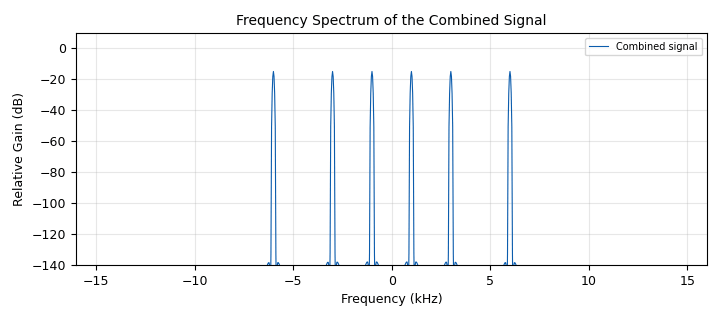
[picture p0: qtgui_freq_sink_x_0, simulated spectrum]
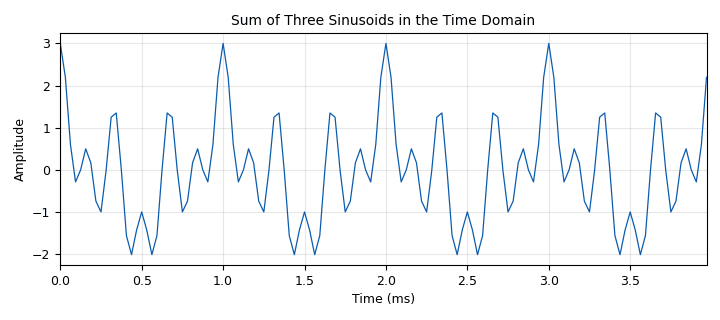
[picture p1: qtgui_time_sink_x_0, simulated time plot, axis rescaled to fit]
options:
  parameters:
    author: Dhrubjun
    generate_options: qt_gui
    id: exp1
    output_language: python
    title: Time & Frequency Domain
  states: {}

blocks:
- name: samp_rate
  id: variable
  parameters:
    value: '32000'
  states: {}
- name: analog_sig_source_x_0
  id: analog_sig_source_x
  parameters:
    amp: '1'
    freq: '1000'
    offset: '0'
    phase: '0'
    samp_rate: samp_rate
    type: float
    waveform: analog.GR_COS_WAVE
  states: {}
- name: analog_sig_source_x_0_0
  id: analog_sig_source_x
  parameters:
    amp: '1'
    freq: '3000'
    offset: '0'
    phase: '0'
    samp_rate: samp_rate
    type: float
    waveform: analog.GR_COS_WAVE
  states: {}
- name: analog_sig_source_x_0_1
  id: analog_sig_source_x
  parameters:
    amp: '1'
    freq: '6000'
    offset: '0'
    phase: '0'
    samp_rate: samp_rate
    type: float
    waveform: analog.GR_COS_WAVE
  states: {}
- name: blocks_add_xx_0
  id: blocks_add_xx
  parameters:
    num_inputs: '3'
    type: float
  states: {}
- name: qtgui_freq_sink_x_0
  id: qtgui_freq_sink_x
  parameters:
    bw: samp_rate
    color1: '"red"'
    fc: '0'
    fftsize: '1024'
    label1: Combined signal
    name: Frequency Spectrum of the Combined Signal
    type: float
  states: {}
- name: qtgui_time_sink_x_0
  id: qtgui_time_sink_x
  parameters:
    name: Sum of Three Sinusoids in the Time Domain
    size: '128'
    srate: samp_rate
    type: float
  states: {}

connections:
- [analog_sig_source_x_0, '0', blocks_add_xx_0, '0']
- [analog_sig_source_x_0_0, '0', blocks_add_xx_0, '1']
- [analog_sig_source_x_0_1, '0', blocks_add_xx_0, '2']
- [blocks_add_xx_0, '0', qtgui_freq_sink_x_0, '0']
- [blocks_add_xx_0, '0', qtgui_time_sink_x_0, '0']

metadata:
  file_format: 1
  grc_version: 3.10.12.0
